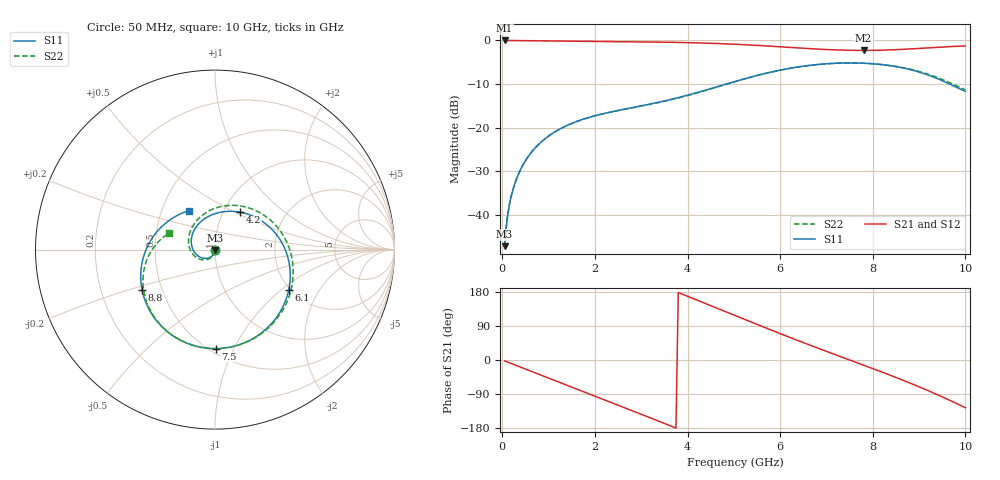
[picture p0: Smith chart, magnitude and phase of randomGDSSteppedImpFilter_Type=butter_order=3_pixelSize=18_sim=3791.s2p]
! freq	dB(S11)	phase(S11)	dB(S12)	phase(S12)
!  dB(S21)	phase(S21)	dB(S22)	phase(S22)
!S-par simulation data
#  GHz  S  DB  R 50
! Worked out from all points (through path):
!   200 points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, 50 MHz to 10 GHz, reference 50 ohm
!   highest |S21| = 0.00 dB at 50 MHz (marker M1); lowest = -2.3 dB at 7.8 GHz (marker M2)
!   group delay of S21, straight-line fit = 134 ps
!   lowest |S11| = -47.2 dB at 50 MHz (marker M3), VSWR 1.01, Z = 50 - j0.436 ohm
!   |S11| at or under -10 dB: start of sweep to 4.838 GHz; 9.656 GHz to end of sweep
!   |S22| runs from -47.2 to -5.2 dB; largest |S21 - S12| = 0
!   S11 on the Smith chart (normalised r, x): 50 MHz: 1.00, -0.01; 4.2 GHz: 1.20, +0.53; 6.1 GHz: 1.97, -1.13; 7.5 GHz: 0.54, -0.85; 8.8 GHz: 0.39, -0.22; 10 GHz: 0.69, +0.32
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0.05  -47.21 -91.1  -0.00 -2.4  -0.00 -2.4  -47.22 -90.8
0.1  -41.28 -93.8  -0.01 -4.8  -0.01 -4.8  -41.27 -93.0
0.2  -35.42 -99.4  -0.02 -9.6  -0.02 -9.6  -35.42 -97.7
0.5  -27.60 -116.4  -0.04 -23.9  -0.04 -23.9  -27.60 -112.2
1.15  -20.89 -150.9  -0.10 -54.8  -0.10 -54.8  -20.90 -140.9
1.75  -18.06 177.6  -0.16 -83.3  -0.16 -83.3  -18.08 -166.9
2.5  -16.06 138.5  -0.25 -119.1  -0.25 -119.1  -16.11 160.3
2.95  -15.11 115.5  -0.31 -140.7  -0.31 -140.7  -15.18 139.9
3.4  -14.13 93.3  -0.38 -162.5  -0.38 -162.5  -14.21 118.5
3.8  -13.12 74.2  -0.45 178.0  -0.45 178.0  -13.21 98.5
4.2  -11.99 55.9  -0.55 158.3  -0.55 158.3  -12.07 77.8
4.65  -10.59 35.7  -0.71 136.1  -0.71 136.1  -10.66 54.0
5.05  -9.34 17.9  -0.88 116.2  -0.88 116.2  -9.40 32.6
5.55  -7.89 -4.3  -1.16 91.5  -1.16 91.5  -7.93 6.3
6.1  -6.60 -28.6  -1.52 64.8  -1.52 64.8  -6.63 -21.7
6.7  -5.64 -54.9  -1.92 36.6  -1.92 36.6  -5.66 -50.9
7.5  -5.17 -89.7  -2.26 0.1  -2.26 0.1  -5.17 -87.8
7.8  -5.23 -102.9  -2.29 -13.5  -2.29 -13.5  -5.23 -101.3
8.35  -5.76 -128.4  -2.18 -38.9  -2.18 -38.9  -5.72 -125.9
8.8  -6.68 -151.2  -1.95 -60.6  -1.95 -60.6  -6.57 -146.3
9.45  -9.01 169.1  -1.53 -94.5  -1.53 -94.5  -8.74 -176.1
10  -11.69 123.3  -1.28 -125.9  -1.28 -125.9  -11.36 160.1
